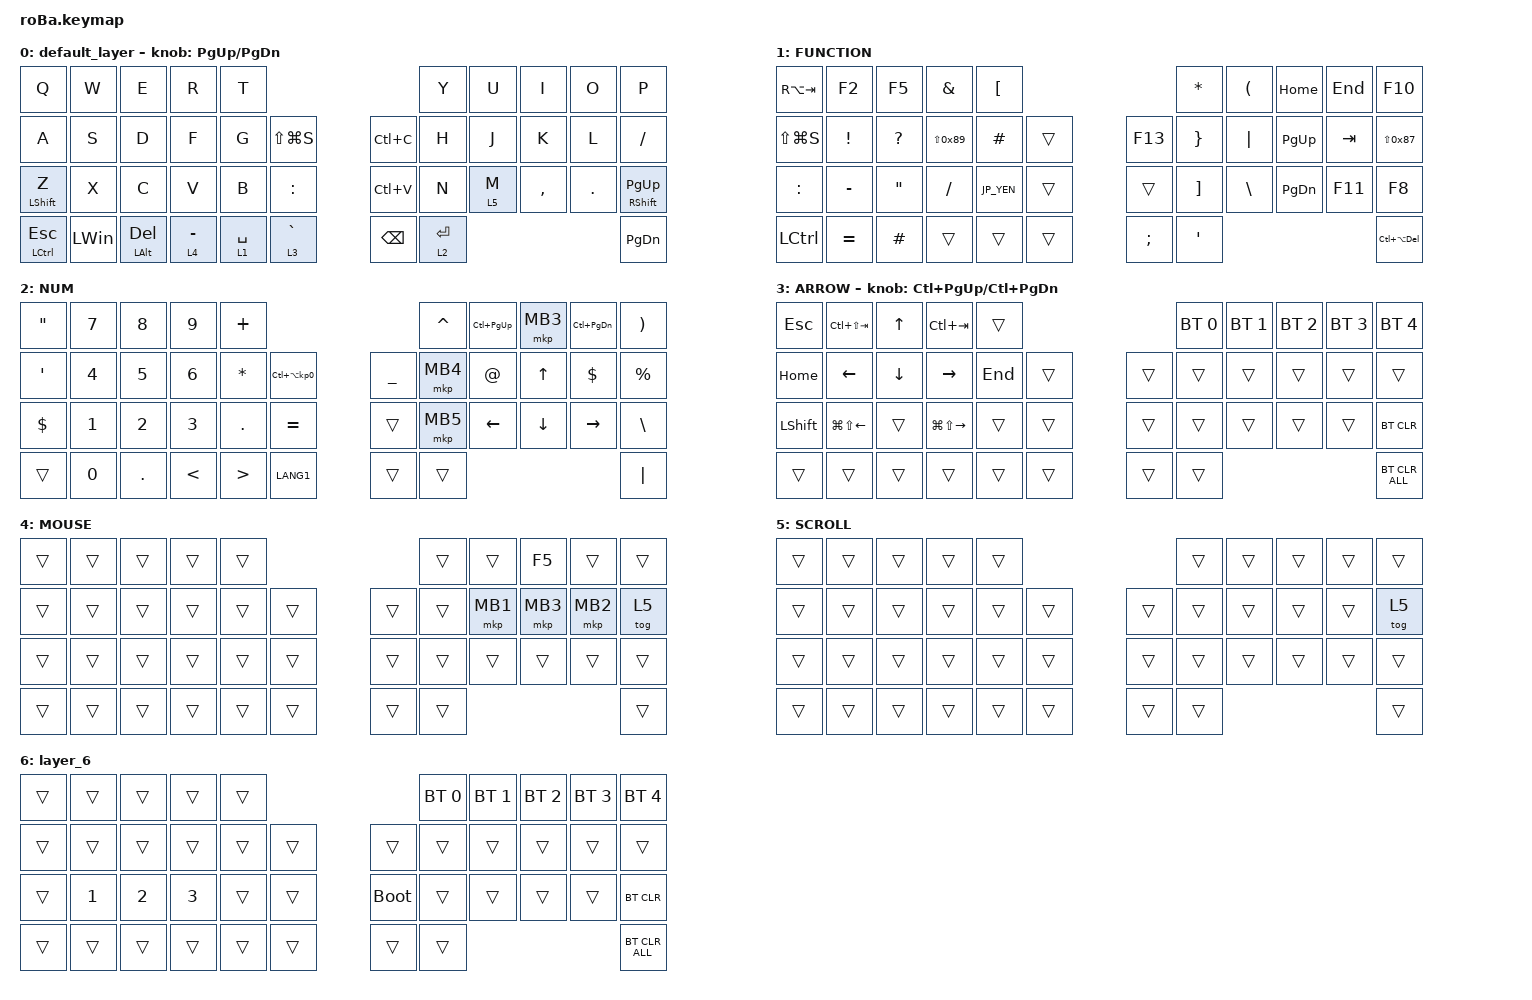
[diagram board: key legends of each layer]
#include <input/processors.dtsi>
#include <behaviors.dtsi>
#include <dt-bindings/zmk/bt.h>
#include <dt-bindings/zmk/keys.h>
#include <dt-bindings/zmk/pointing.h>

// OS設定を日本語キーボードのまま使用するための変換定義

#define JP_DQUOTE       AT                // "
#define JP_AMPERSAND    CARET             // &
#define JP_QUOTE        AMPERSAND         // '
#define JP_EQUAL        UNDER             // =
#define JP_CARET        EQUAL             // ^
#define JP_YEN          0x89              // ¥
#define JP_PLUS         COLON             // +
#define JP_TILDE        PLUS              // ~
#define JP_PIPE         LS(0x89)          // |
#define JP_AT           LEFT_BRACKET      // @
#define JP_COLON        SINGLE_QUOTE      // :
#define JP_ASTERISK     DOUBLE_QUOTES     // *
#define JP_BACKQUOTE    LEFT_BRACE        // `
#define JP_UNDERSCORE   LS(0x87)          // _
#define JP_LBRACKET     RIGHT_BRACKET     // [
#define JP_RBRACKET     BACKSLASH         // ]
#define JP_LPAREN       ASTERISK          // (
#define JP_RPAREN       LEFT_PARENTHESIS  // )
#define JP_LBRACE       RIGHT_BRACE       // {
#define JP_RBRACE       PIPE              // }
#define JP_KANA         LANGUAGE_1        // かな
#define JP_EISU         LANGUAGE_2        // 英数
#define JP_HANZEN       GRAVE             // 半角/全角

&mt {
    flavor = "balanced";
    quick-tap-ms = <400>;
};

&trackball {
    //automouse-layer = <4>;

    scroll-layers = <5>;

    // arrows {
    //     layers = <3>;
    //     bindings =
    //         <&kp RIGHT_ARROW>,
    //         <&kp LEFT_ARROW>,
    //         <&kp UP_ARROW>,
    //         <&kp DOWN_ARROW>;
    //     tick = <10>;
    //     wait-ms = <5>;
    //     tap-ms = <5>;
    // };
};

&zip_temp_layer { require-prior-idle-ms = <0>; };

/ {
    zip_temp_layer_threshold: zip_temp_layer_threshold {
        compatible = "zmk,input-processor-temp-layer-threshold";
        #input-processor-cells = <2>;
        threshold = <12>;
        reset-timeout-ms = <200>;
        require-prior-idle-ms = <200>;
        excluded-positions = <7 18 19 20 21>;
    };
};

/ {
    trackball_listener: trackball_listener {
        compatible = "zmk,input-listener";
        device = <&trackball>;
        input-processors = <&zip_temp_layer_threshold 4 100000>;
    };
};

&mkp_input_listener { input-processors = <&zip_temp_layer 4 1000>; };

/ {
    combos {
        compatible = "zmk,combos";

        tab {
            bindings = <&kp TAB>;
            key-positions = <11 12>;
        };

        shift_tab {
            bindings = <&kp LS(TAB)>;
            key-positions = <12 13>;
        };

        double_quotation {
            bindings = <&kp DOUBLE_QUOTES>;
            key-positions = <20 21>;
        };

        eq {
            bindings = <&kp EQUAL>;
            key-positions = <24 25>;
        };

        tab_del {
            bindings = <&kp LC(F4)>;
            key-positions = <19 20>;
        };

        sl- {
            bindings = <&sl 5>;
            key-positions = <31 32>;
        };
    };

    macros {
        to_layer_0: to_layer_0 {
            compatible = "zmk,behavior-macro-one-param";
            #binding-cells = <1>;
            bindings = <&to 0 &macro_param_1to1 &kp MACRO_PLACEHOLDER>;
            label = "TO_LAYER_0";
        };
    };

    behaviors {
        lt_to_layer_0: lt_to_layer_0 {
            compatible = "zmk,behavior-hold-tap";
            label = "LAYER_TAP_TO_0";
            bindings = <&mo>, <&to_layer_0>;

            #binding-cells = <2>;
            tapping-term-ms = <200>;
        };

        hold_mkp_tap_kp: hold_mkp_tap_kp {
            compatible = "zmk,behavior-hold-tap";
            label = "HOLD_MKP_TAP_KP";
            bindings = <&mkp>, <&kp>;

            #binding-cells = <2>;
            tapping-term-ms = <200>;
        };
    };

    keymap {
        compatible = "zmk,keymap";

        default_layer {
            bindings = <
&kp Q             &kp W         &kp E             &kp R                   &kp T                                                       &kp Y        &kp U    &kp I      &kp O       &kp P
&kp A             &kp S         &kp D             &kp F                   &kp G        &kp LS(LG(S))                   &kp LC(C)      &kp H        &kp J    &kp K      &kp L       &kp SLASH
&mt LEFT_SHIFT Z  &kp X         &kp C             &kp V                   &kp B        &kp COLON                       &kp LC(V)      &kp N        &lt 5 M  &kp COMMA  &kp PERIOD  &mt RIGHT_SHIFT PAGE_UP
&mt LCTRL ESC     &kp LEFT_WIN  &mt LEFT_ALT DEL  &lt_to_layer_0 4 MINUS  &lt 1 SPACE  &lt_to_layer_0 3 JP_HANZEN      &kp BACKSPACE  &lt 2 ENTER                                  &kp PAGE_DOWN
            >;

            sensor-bindings = <&inc_dec_kp PG_UP PAGE_DOWN>;
        };

        FUNCTION {
            bindings = <
&kp RA(TAB)    &kp F2           &kp F5           &kp JP_QUOTE  &kp JP_AT                              &kp JP_LPAREN    &kp JP_RPAREN    &kp HOME       &kp END  &kp F10
&kp LS(LG(S))  &kp EXCLAMATION  &kp QUESTION     &kp JP_PIPE   &kp HASH    &trans      &kp F13        &kp JP_LBRACE    &kp JP_RBRACE    &kp PAGE_UP    &kp TAB  &kp JP_UNDERSCORE
&kp JP_PLUS    &kp MINUS        &kp JP_ASTERISK  &kp SLASH     &kp JP_YEN  &trans      &trans         &kp JP_LBRACKET  &kp JP_RBRACKET  &kp PAGE_DOWN  &kp F11  &kp F8
&kp LCTRL      &kp JP_CARET     &kp HASH         &trans        &trans      &trans      &kp SEMICOLON  &kp JP_COLON                                              &kp LC(LA(DEL))
            >;
        };

        NUM {
            bindings = <
&kp DOUBLE_QUOTES  &kp N7        &kp N8        &kp N9         &kp PLUS                                                       &kp CARET  &kp LC(PAGE_UP)  &mkp MB3        &kp LC(PAGE_DOWN)  &kp RIGHT_PARENTHESIS
&kp SQT            &kp NUMBER_4  &kp N5        &kp NUMBER_6   &kp ASTERISK      &kp LC(LA(KP_NUMBER_0))      &kp UNDERSCORE  &mkp MB4   &kp AT_SIGN      &kp UP_ARROW    &kp DOLLAR         &kp PERCENT
&kp DOLLAR         &kp NUMBER_1  &kp NUMBER_2  &kp NUMBER_3   &kp PERIOD        &kp EQUAL                    &trans          &mkp MB5   &kp LEFT_ARROW   &kp DOWN_ARROW  &kp RIGHT_ARROW    &kp BACKSLASH
&trans             &kp N0        &kp PERIOD    &kp LESS_THAN  &kp GREATER_THAN  &kp LANG1                    &trans          &trans                                                         &kp PIPE
            >;
        };

        ARROW {
            bindings = <
&kp ESCAPE      &kp LC(LS(TAB))         &kp UP_ARROW    &kp LC(TAB)              &trans                       &bt BT_SEL 0  &bt BT_SEL 1  &bt BT_SEL 2  &bt BT_SEL 3  &bt BT_SEL 4
&kp HOME        &kp LEFT_ARROW          &kp DOWN_ARROW  &kp RIGHT_ARROW          &kp END  &trans      &trans  &trans        &trans        &trans        &trans        &trans
&kp LEFT_SHIFT  &kp LG(LS(LEFT_ARROW))  &trans          &kp LG(LS(RIGHT_ARROW))  &trans   &trans      &trans  &trans        &trans        &trans        &trans        &bt BT_CLR
&trans          &trans                  &trans          &trans                   &trans   &trans      &trans  &trans                                                  &bt BT_CLR_ALL
            >;

            sensor-bindings = <&inc_dec_kp LC(PAGE_UP) LC(PAGE_DOWN)>;
        };

        MOUSE {
            bindings = <
&trans  &trans  &trans  &trans  &trans                      &trans  &trans    &kp F5    &trans    &trans
&trans  &trans  &trans  &trans  &trans  &trans      &trans  &trans  &mkp MB1  &mkp MB3  &mkp MB2  &tog 5
&trans  &trans  &trans  &trans  &trans  &trans      &trans  &trans  &trans    &trans    &trans    &trans
&trans  &trans  &trans  &trans  &trans  &trans      &trans  &trans                                &trans
            >;
        };

        SCROLL {
            bindings = <
&trans  &trans  &trans  &trans  &trans                      &trans  &trans  &trans  &trans  &trans
&trans  &trans  &trans  &trans  &trans  &trans      &trans  &trans  &trans  &trans  &trans  &tog 5
&trans  &trans  &trans  &trans  &trans  &trans      &trans  &trans  &trans  &trans  &trans  &trans
&trans  &trans  &trans  &trans  &trans  &trans      &trans  &trans                          &trans
            >;
        };

        layer_6 {
            bindings = <
&trans  &trans        &trans        &trans        &trans                           &bt BT_SEL 0  &bt BT_SEL 1  &bt BT_SEL 2  &bt BT_SEL 3  &bt BT_SEL 4
&trans  &trans        &trans        &trans        &trans  &trans      &trans       &trans        &trans        &trans        &trans        &trans
&trans  &kp NUMBER_1  &kp NUMBER_2  &kp NUMBER_3  &trans  &trans      &bootloader  &trans        &trans        &trans        &trans        &bt BT_CLR
&trans  &trans        &trans        &trans        &trans  &trans      &trans       &trans                                                  &bt BT_CLR_ALL
            >;
        };
    };
};
